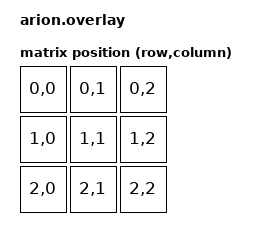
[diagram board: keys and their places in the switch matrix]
 #include <dt-bindings/zmk/matrix_transform.h>

/ {
    chosen {
        zmk,kscan = &kscan0;
		zmk,matrix-transform = &default_transform;
		zephyr,display = &oled;
    };

	default_transform: keymap_transform_0 {
		compatible = "zmk,matrix-transform";
		columns = <3>;
		rows = <3>;
		map = <
            RC(0,0) RC(0,1) RC(0,2)  
            RC(1,0) RC(1,1) RC(1,2) 
            RC(2,0) RC(2,1) RC(2,2) 
        
		>;
	};

    kscan0: kscan_0 {
        compatible = "zmk,kscan-gpio-matrix";
        label = "KSCAN";
        diode-direction = "col2row";

         row-gpios = <&gpio0 0 (GPIO_ACTIVE_HIGH | GPIO_PULL_DOWN)>,
                    <&gpio0 1 (GPIO_ACTIVE_HIGH | GPIO_PULL_DOWN)>,
                    <&gpio0 2 (GPIO_ACTIVE_HIGH | GPIO_PULL_DOWN)>,
                   

        col-gpios = <&gpio0 3 GPIO_ACTIVE_HIGH>,
                    <&gpio0 4 GPIO_ACTIVE_HIGH>,
                    <&gpio0 5 GPIO_ACTIVE_HIGH>,
                 
    };
	

	sensors {
		compatible = "zmk,keymap-sensors";
		sensors = <&encoder>;
	};
	
};

&i2c0 {
    status = "okay";
    pinctrl-0 = <&i2c0_default>;
    pinctrl-names = "default";
    clock-frequency = <400000>;

    oled: ssd1306@3c {
        compatible = "solomon,ssd1306fb";
        reg = <0x3c>;
        label = "DISPLAY";
        width = <128>;
        height = <64>;
        segment-offset = <0>;
        page-offset = <0>;
        display-offset = <0>;
        multiplex-ratio = <63>;
        segment-remap;
        com-invdir;
        prechargep = <0x22>;
    };
};

&pinctrl {
    i2c0_default: i2c0_default {
        group1 { /* SDA pin */
            pins = <8>; /* GPIO 8 */
            function = "i2c";
        };
        group2 { /* SCL pin */
            pins = <9>; /* GPIO 9 */
            function = "i2c";
        };
    };
};
